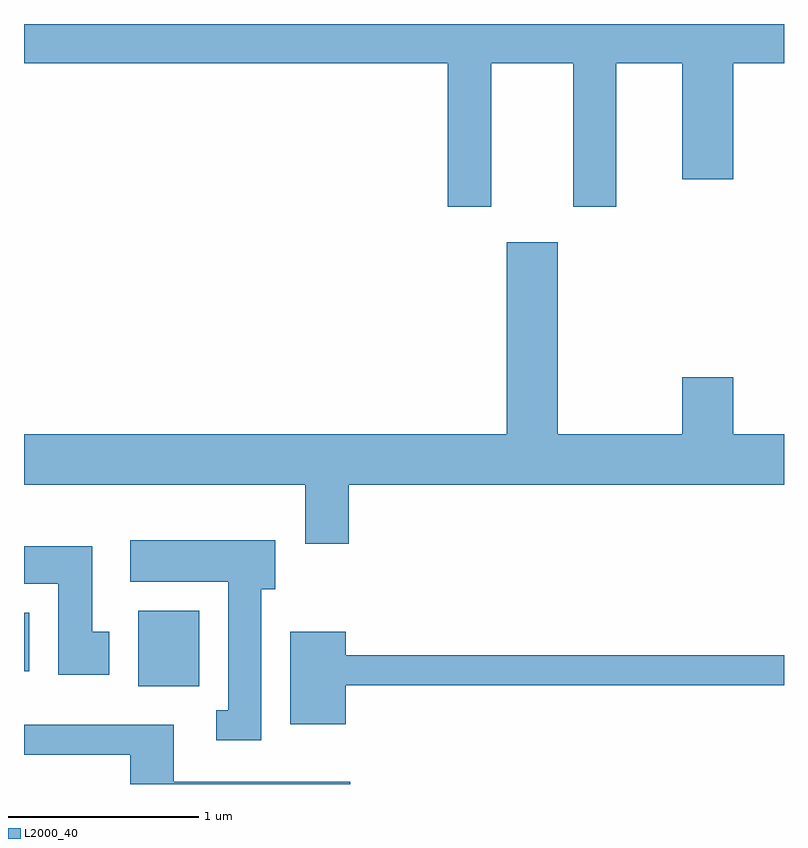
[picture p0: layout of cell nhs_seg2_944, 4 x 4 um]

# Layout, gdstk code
import gdstk
lib = gdstk.Library(unit=1e-6, precision=1e-09)
def R(c, l, rs):  # rectangles x0, y0, x1, y1
    for r in rs: c.add(gdstk.rectangle(r[:2], r[2:], *l))
def P(c, l, *ps):  # polygons
    for p in ps: c.add(gdstk.Polygon(p, *l))
L2000_40 = (2000, 40)

nhs_seg2_944 = lib.new_cell('nhs_seg2_944')
R(nhs_seg2_944, L2000_40, [(212.211,1098.316,212.534,1098.714), (211.611,1098.396,211.639,1098.704)])
P(nhs_seg2_944, L2000_40, [(214.069,1101.596),(214.501,1101.596),(214.501,1100.841),(214.729,1100.841),(214.729,1101.596),(215.076,1101.596),(215.076,1100.986),(215.344,1100.986),(215.344,1101.596),(215.611,1101.596),(215.611,1101.802),(211.611,1101.802),(211.611,1101.596),(213.841,1101.596),(213.841,1100.841),(214.069,1100.841)],
  [(213.319,1099.376),(215.611,1099.376),(215.611,1099.644),(215.344,1099.644),(215.344,1099.944),(215.076,1099.944),(215.076,1099.644),(214.419,1099.644),(214.419,1100.654),(214.151,1100.654),(214.151,1099.644),(211.611,1099.644),(211.611,1099.376),(213.091,1099.376),(213.091,1099.066),(213.319,1099.066)],
  [(212.859,1098.826),(212.934,1098.826),(212.934,1099.084),(212.171,1099.084),(212.171,1098.866),(212.686,1098.866),(212.686,1098.189),(212.623,1098.189),(212.623,1098.031),(212.859,1098.031)],
  [(212.059,1098.604),(211.969,1098.604),(211.969,1099.054),(211.611,1099.054),(211.611,1098.856),(211.791,1098.856),(211.791,1098.376),(212.059,1098.376)],
  [(213.304,1098.321),(215.611,1098.321),(215.611,1098.479),(213.304,1098.479),(213.304,1098.604),(213.011,1098.604),(213.011,1098.116),(213.304,1098.116)],
  [(213.328,1097.814),(212.399,1097.814),(212.399,1098.114),(211.611,1098.114),(211.611,1097.956),(212.171,1097.956),(212.171,1097.802),(213.328,1097.802)])

lib.write_gds('nhs_seg2_944.gds')
